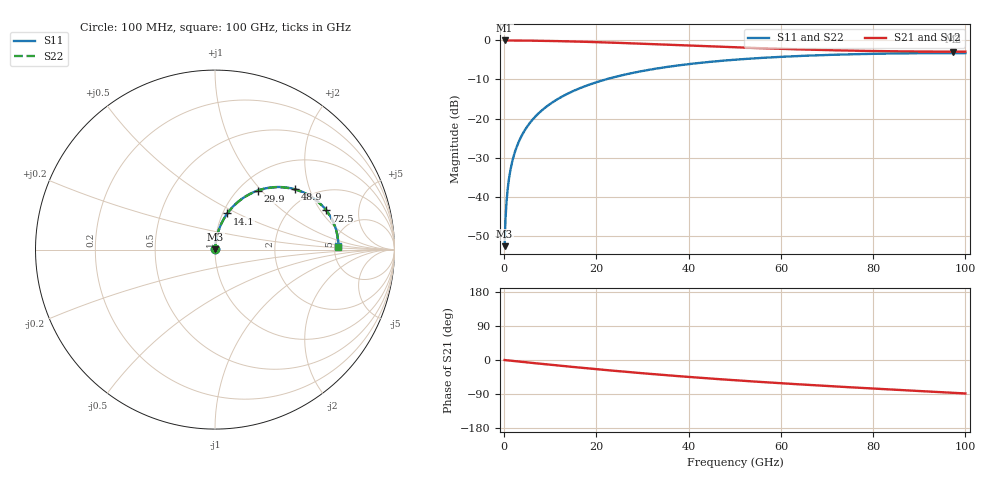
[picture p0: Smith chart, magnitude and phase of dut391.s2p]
! Touchstone file exported from HFSS 2026.1.0
!  File:  C:/ffzhzh/LocalFiles/Ansys_Project_Files/temp_train_RDL_391_1783503888_44152.aedt
!  Generated:  05:46:02 PM Jul  8, 2026
!  Design:  RDL
!  Project:  temp_train_RDL_391_1783503888_44152
! Variables:
!  h_bsmrdl = 2um
!  h_ox = 20um
!  h_rdl = 5um
!  h_sub = 80um
!  h_tmrdl = 4.01um
!  h_tsv = 80um
!  h_via = 3um
!  l_bsmrdl = 300um
!  l_sub = 670.38um
!  l_tmrdl = 270.38um
!  m_sub = 200um
!  pitch = 57.69um
!  r_tsv = 6um
!  s_tmrdl = 10um
!  w_bsmrdl = 18um
!  w_sub = 500um
!  w_tmrdl = 16.01um
!  x_tsv_center1 = 278.385um
!  x_tsv_center2 = 596.385um
!  x_tsv_center3 = 882.775um
!  x_tsv_center4 = 1200.775um
!  x_tsv_center5 = 1487.165um
!  x_tsv_center6 = 1805.165um
# GHz S MA R 50.000000
! Terminal data exported
! Port[1] = TM_RDL1_1_T1
! Port[2] = TM_RDL1_1_T2
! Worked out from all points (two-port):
!   1000 points, 100 MHz to 100 GHz, reference 50 ohm
!   highest |S21| = -0.01 dB at 100 MHz (marker M1); lowest = -2.9 dB at 97.3 GHz (marker M2)
!   |S21| within 3 dB of the highest: start of sweep to end of sweep
!   lowest |S11| = -52.6 dB at 100 MHz (marker M3), VSWR 1.00, Z = 50.2 + j0.167 ohm
!   |S11| at or under -10 dB: start of sweep to 21.99 GHz
!   |S22| runs from -52.6 to -3.3 dB; largest |S21 - S12| = 9.5e-15
!   S11 on the Smith chart (normalised r, x): 100 MHz: 1.00, +0.00; 14.1 GHz: 1.05, +0.44; 29.9 GHz: 1.21, +0.95; 48.9 GHz: 1.64, +1.61; 72.5 GHz: 2.96, +2.28; 100 GHz: 5.37, +0.39
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0.1  0.002334 45.6  0.9984 -0.1  0.9984 -0.1  0.002334 45.6
! Gamma 0 0 0 0
! Port Impedance 50 0 50 0
0.8  0.01306 80.7  0.998 -1.0  0.998 -1.0  0.01306 80.7
1  0.01622 81.9  0.9979 -1.3  0.9979 -1.3  0.01622 81.9
1.3  0.02097 82.9  0.9978 -1.7  0.9978 -1.7  0.02097 82.9
1.7  0.02731 83.5  0.9976 -2.2  0.9976 -2.2  0.02731 83.5
2.2  0.03523 83.7  0.9972 -2.8  0.9972 -2.8  0.03523 83.6
3.4  0.05415 83.0  0.996 -4.3  0.996 -4.3  0.05415 83.0
5.2  0.08216 81.3  0.9935 -6.6  0.9935 -6.6  0.08216 81.2
7.5  0.1172 78.7  0.9892 -9.4  0.9892 -9.4  0.1172 78.7
10.5  0.1616 75.3  0.9821 -13.1  0.9821 -13.1  0.1616 75.2
14.1  0.2129 71.2  0.9716 -17.4  0.9716 -17.4  0.2129 71.1
16.8  0.2498 68.1  0.9623 -20.5  0.9623 -20.5  0.2498 68.1
22.8  0.326 61.6  0.9386 -27.3  0.9386 -27.3  0.326 61.5
29.9  0.4053 54.2  0.9069 -34.8  0.9069 -34.8  0.4053 54.1
33.4  0.4398 50.7  0.8906 -38.4  0.8906 -38.4  0.4398 50.6
48.9  0.5593 36.9  0.8211 -52.5  0.8211 -52.5  0.5593 36.6
50.1  0.5665 35.9  0.8162 -53.5  0.8162 -53.5  0.5665 35.7
66.7  0.6411 23.4  0.7598 -66.2  0.7598 -66.2  0.6411 23.0
72.5  0.6579 19.3  0.7455 -70.3  0.7455 -70.3  0.6579 19.0
83.4  0.6788 12.2  0.7268 -77.6  0.7268 -77.6  0.6788 11.7
97.3  0.6877 3.3  0.7183 -86.6  0.7183 -86.6  0.6877 2.8
100  0.6873 1.6  0.7186 -88.3  0.7186 -88.3  0.6873 1.1
